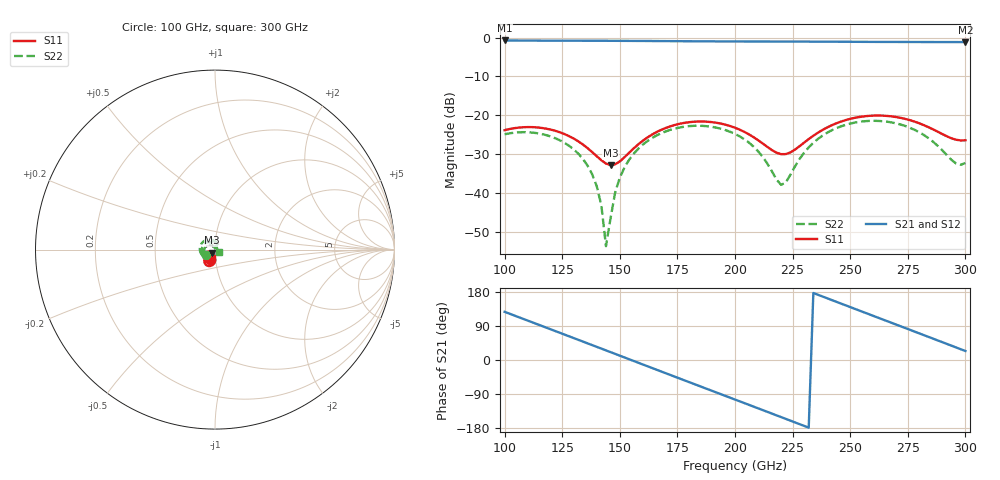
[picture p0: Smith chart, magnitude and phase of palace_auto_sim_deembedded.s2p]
! Created with skrf 1.11.0 (http://scikit-rf.org).
# GHz S DB R 50.0
!freq dBS11 angS11 dBS21 angS21 dBS12 angS12 dBS22 angS22
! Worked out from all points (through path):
!   101 points, 100 GHz to 300 GHz, reference 50 ohm
!   highest |S21| = -0.71 dB at 100 GHz (marker M1); lowest = -1.1 dB at 300 GHz (marker M2)
!   group delay of S21, straight-line fit = 6.44 ps
!   lowest |S11| = -32.8 dB at 146 GHz (marker M3), VSWR 1.05, Z = 48.5 - j1.65 ohm
!   |S11| at or under -10 dB: start of sweep to end of sweep
!   |S22| runs from -53.7 to -21.4 dB; largest |S21 - S12| = 1e-13
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100  -23.85 -117.1  -0.71 127.1  -0.71 127.1  -24.90 -151.1
116  -23.25 -143.7  -0.76 90.2  -0.76 90.2  -24.82 169.4
126  -24.84 -157.7  -0.78 67.1  -0.78 67.1  -27.10 144.1
134  -27.54 -163.3  -0.79 48.6  -0.79 48.6  -31.26 122.8
140  -30.56 -157.5  -0.79 34.7  -0.79 34.7  -38.29 103.2
142  -31.60 -151.5  -0.80 30.0  -0.80 30.0  -43.26 91.9
144  -32.44 -142.8  -0.80 25.4  -0.80 25.4  -53.73 45.2
146  -32.84 -131.8  -0.80 20.7  -0.80 20.7  -46.49 -62.7
148  -32.63 -120.3  -0.81 16.1  -0.81 16.1  -39.87 -79.2
152  -30.83 -103.2  -0.82 6.8  -0.82 6.8  -33.48 -94.4
158  -27.50 -94.9  -0.84 -7.2  -0.84 -7.2  -28.64 -111.7
168  -23.74 -101.4  -0.87 -30.4  -0.87 -30.4  -24.62 -138.4
184  -21.61 -124.1  -0.93 -67.4  -0.93 -67.4  -22.69 179.3
200  -23.21 -145.7  -0.97 -104.4  -0.97 -104.4  -24.80 134.2
210  -26.41 -149.6  -0.98 -127.5  -0.98 -127.5  -29.25 99.2
220  -30.02 -124.7  -0.99 -150.6  -0.99 -150.6  -37.92 11.1
234  -25.27 -89.1  -1.02 176.8  -1.02 176.8  -27.10 -106.0
250  -20.92 -101.3  -1.06 139.7  -1.06 139.7  -22.14 -156.3
268  -20.29 -124.4  -1.10 98.0  -1.10 98.0  -21.84 151.7
284  -23.07 -136.8  -1.12 60.9  -1.12 60.9  -25.90 97.8
296  -26.31 -121.6  -1.13 33.1  -1.13 33.1  -32.44 18.2
300  -26.44 -110.0  -1.14 23.7  -1.14 23.7  -32.31 -26.4
